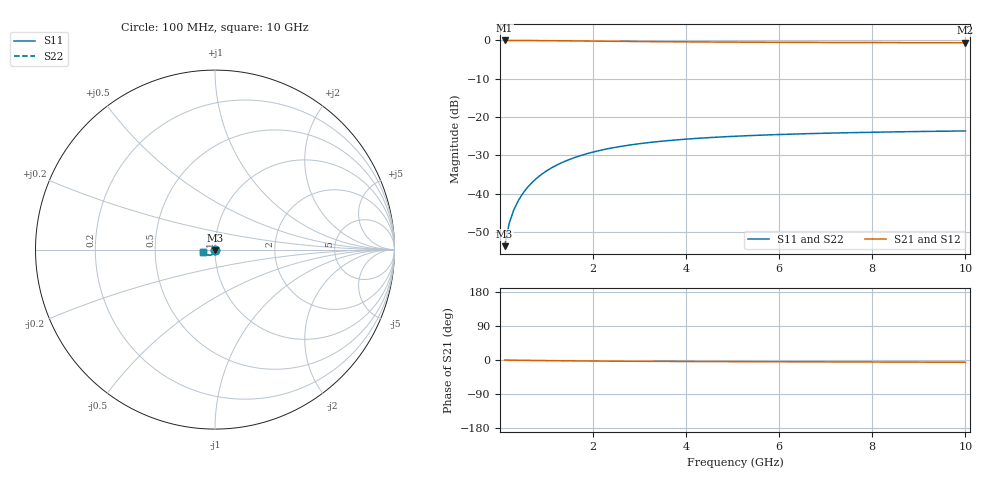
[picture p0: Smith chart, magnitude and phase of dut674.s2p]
! Touchstone file exported from HFSS 2024.1.0
!  File:  C:/UserFiles/LocalFiles/RDL_TSV_Batchsim/temp_TSV1_674_1779794372.aedt
!  Generated:  07:25:08 PM May 26, 2026
!  Design:  TSV1
!  Project:  temp_TSV1_674_1779794372
!  Setup:  Setup1
!  Solution:  Sweep
! Variables:
!  dtsv = 14.47um
!  hbump = 3um
!  htsv = 92um
!  lrdl = 252.1521522um
!  p = 40
!  p1 = 56.17um
!  t = 500um
!  trdl = 3um
!  wrdl = 24.89489489um
# GHz S MA R 50.000000
! Terminal data exported
! Port[1] = TSV22_T1
! Port[2] = TSV22_T2
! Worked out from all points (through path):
!   100 points, 100 MHz to 10 GHz, reference 50 ohm
!   highest |S21| = 0.00 dB at 100 MHz (marker M1); lowest = -0.6 dB at 10 GHz (marker M2)
!   lowest |S11| = -53.7 dB at 100 MHz (marker M3), VSWR 1.00, Z = 50 - j0.207 ohm
!   |S11| at or under -10 dB: start of sweep to end of sweep
!   |S22| runs from -53.7 to -23.6 dB; largest |S21 - S12| = 8.4e-15
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0.1  0.002074 -89.5  0.9998 -0.2  0.9998 -0.2  0.002074 -89.5
! Gamma 0 0 0 0
! Port Impedance 50 0 50 0
0.2  0.004147 -92.5  0.9996 -0.3  0.9996 -0.3  0.004147 -92.5
0.3  0.006214 -94.7  0.9992 -0.5  0.9992 -0.5  0.006214 -94.7
0.4  0.008266 -96.8  0.9988 -0.7  0.9988 -0.7  0.008266 -96.8
0.5  0.01029 -98.8  0.9981 -0.8  0.9981 -0.8  0.01029 -98.8
0.6  0.01229 -100.8  0.9974 -1.0  0.9974 -1.0  0.01229 -100.8
0.7  0.01425 -102.7  0.9966 -1.2  0.9966 -1.2  0.01425 -102.7
0.8  0.01617 -104.6  0.9957 -1.3  0.9957 -1.3  0.01617 -104.6
0.9  0.01804 -106.4  0.9947 -1.5  0.9947 -1.5  0.01804 -106.4
1.1  0.02163 -110.0  0.9924 -1.7  0.9924 -1.7  0.02163 -110.0
1.4  0.02659 -115.0  0.9887 -2.1  0.9887 -2.1  0.02659 -115.0
1.6  0.02962 -118.1  0.9861 -2.3  0.9861 -2.3  0.02962 -118.1
1.8  0.03242 -121.1  0.9834 -2.5  0.9834 -2.5  0.03242 -121.1
2.1  0.0362 -125.2  0.9794 -2.8  0.9794 -2.8  0.0362 -125.2
2.5  0.04055 -130.1  0.9742 -3.1  0.9742 -3.1  0.04055 -130.1
2.9  0.04421 -134.4  0.9695 -3.4  0.9695 -3.4  0.04421 -134.4
3.4  0.04799 -139.1  0.9642 -3.6  0.9642 -3.6  0.04799 -139.1
4.2  0.05264 -145.5  0.9571 -4.0  0.9571 -4.0  0.05264 -145.5
5.1  0.05647 -151.2  0.951 -4.3  0.951 -4.3  0.05647 -151.2
6.7  0.06103 -159.1  0.9432 -4.8  0.9432 -4.8  0.06103 -159.1
8.4  0.06409 -165.5  0.9378 -5.4  0.9378 -5.4  0.06409 -165.5
10  0.06605 -170.4  0.9344 -5.9  0.9344 -5.9  0.06605 -170.4
